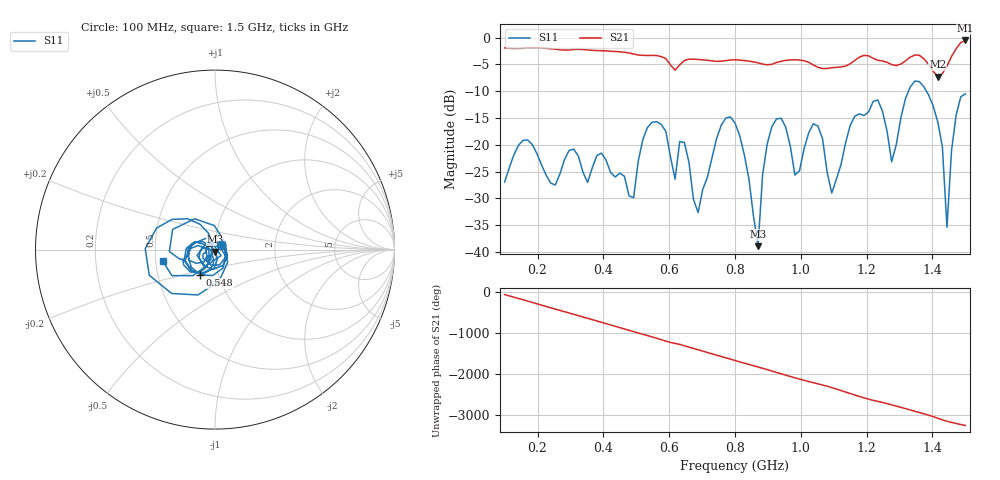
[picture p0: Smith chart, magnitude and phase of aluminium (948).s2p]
! NanoVNA-App
! Date: 2025-09-25 15:02:40
! Start: 100MHz Stop: 1,5GHz Points: 101
! S-Parameter data: F S11 S21 S12 S22
# Hz S RI R 50
!  Frequency  S11_Real  S11_Imag  S21_Real  S21_Imag  S12_Real  S12_Imag  S22_Real  S22_Imag
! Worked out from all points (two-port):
!   101 points, 100 MHz to 1.5 GHz, reference 50 ohm
!   highest |S21| = -0.53 dB at 1.5 GHz (marker M1); lowest = -7.3 dB at 1.416 GHz (marker M2)
!   |S21| within 3 dB of the highest: start of sweep to 575.6 MHz; 1.458 GHz to end of sweep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
!   lowest |S11| = -38.9 dB at 870 MHz (marker M3), VSWR 1.02, Z = 50.2 - j1.11 ohm
!   |S11| at or under -10 dB: start of sweep to 1.327 GHz; 1.382 GHz to end of sweep
!   S12 and S22 are empty: the file has one direction only
!   S11 on the Smith chart (normalised r, x): 100 MHz: 1.07, +0.06; 548 MHz: 0.82, -0.24; 1.5 GHz: 0.54, -0.07
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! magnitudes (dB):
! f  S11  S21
! 100 MHz  -27.0  -1.9
! 156 MHz  -19.2  -2.0
! 338 MHz  -25.1  -2.2
! 492 MHz  -29.9  -3.1
! 548 MHz  -15.8  -3.3
! 576 MHz  -16.2  -3.5
! 618 MHz  -26.4  -6.1
! 646 MHz  -19.6  -4.3
! 688 MHz  -32.6  -4.1
! 800 MHz  -15.9  -4.1
! 870 MHz  -38.9  -4.7
! 912 MHz  -16.6  -5.0
! 982 MHz  -25.6  -4.1
! 1.038 GHz  -16.1  -5.1
! 1.094 GHz  -29.0  -5.6
! 1.22 GHz  -11.9  -3.9
! 1.276 GHz  -23.2  -5.0
! 1.346 GHz  -8.1  -3.3
! 1.416 GHz  -15.7  -7.3
! 1.444 GHz  -35.4  -5.3
! 1.472 GHz  -14.4  -2.1
! 1.5 GHz  -10.5  -0.5
